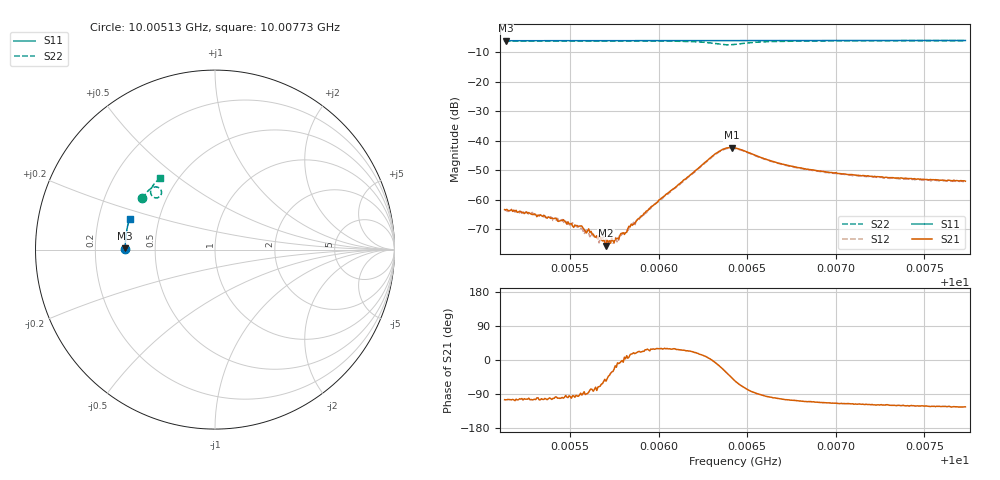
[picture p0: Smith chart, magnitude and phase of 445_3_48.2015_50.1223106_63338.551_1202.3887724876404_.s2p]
#  HZ  S  RI  R  50.00
! Rohde & Schwarz Vector Network Analyzer
! Rohde-Schwarz,ZNB20-2Port,1311601062101988,3.16
! Created: UTC 3/20/2024, 11:56:01 AM
! freq[Hz]  re:S11  im:S11  re:S21  im:S21  re:S12  im:S12  re:S22  im:S22
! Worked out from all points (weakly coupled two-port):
!   401 points, 10.00513 GHz to 10.00773 GHz, reference 50 ohm
!   highest |S21| = -42.28 dB at 10.00641 GHz (marker M1); lowest = -75.6 dB at 10.0057 GHz (marker M2)
!   lowest |S11| = -6.0 dB at 10.00514 GHz (marker M3), VSWR 3.00, Z = 16.7 + j0.273 ohm
!   |S11| at or under -10 dB: nowhere
!   |S22| runs from -7.4 to -6.0 dB; largest |S21 - S12| = 0.00045
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1.0005131e10  -0.5004 0.00579  -0.000174 -0.000659  -0.000121 -0.000649  -0.4046 0.285
1.0005137e10  -0.5002 0.00614  -0.000176 -0.000652  -0.000152 -0.000648  -0.4045 0.2854
1.0005346e10  -0.5003 0.0197  -0.000127 -0.000506  -7.65e-05 -0.000509  -0.3963 0.2978
1.0005411e10  -0.5002 0.024  -9.23e-05 -0.00047  -4.46e-05 -0.000454  -0.3936 0.3015
1.0005443e10  -0.5002 0.0261  -8.59e-05 -0.000432  -5.03e-05 -0.000463  -0.3922 0.3035
1.0005567e10  -0.5 0.0341  -1.6e-05 -0.000358  1.82e-05 -0.000324  -0.3867 0.3108
1.0005586e10  -0.4999 0.0354  -5.35e-06 -0.000291  1.75e-05 -0.000282  -0.3858 0.3121
1.0005612e10  -0.4999 0.037  5.02e-05 -0.000275  4.1e-05 -0.000232  -0.3845 0.3137
1.0005658e10  -0.4998 0.0402  6.85e-05 -0.000202  7.87e-05 -0.000224  -0.3822 0.3165
1.000569e10  -0.4995 0.0421  0.000116 -0.000174  0.000123 -0.000205  -0.3805 0.3185
1.0005703e10  -0.4996 0.043  9.29e-05 -0.000137  0.000155 -0.000152  -0.3799 0.3193
1.0005723e10  -0.4994 0.0442  0.000153 -0.000131  0.000135 -0.000126  -0.3786 0.3206
1.0005762e10  -0.4993 0.0468  0.000208 -7.18e-05  0.000205 -2.52e-05  -0.3766 0.323
1.0006002e10  -0.4981 0.0623  0.000861 0.000496  0.000804 0.000529  -0.3597 0.3387
1.0006314e10  -0.4953 0.0824  0.00581 -0.00045  0.00566 -0.000195  -0.3022 0.3339
1.0006366e10  -0.4947 0.0853  0.00653 -0.00314  0.00655 -0.00272  -0.2989 0.3095
1.0006412e10  -0.4943 0.0882  0.00527 -0.00561  0.00545 -0.00523  -0.3143 0.2912
1.0006431e10  -0.4942 0.0891  0.00432 -0.00621  0.00457 -0.00585  -0.3238 0.2882
1.0006665e10  -0.4924 0.1042  -0.000804 -0.00422  -0.000607 -0.0042  -0.358 0.3298
1.0006867e10  -0.4898 0.1171  -0.00114 -0.00301  -0.000955 -0.003  -0.3492 0.3513
1.0007302e10  -0.4836 0.1445  -0.00117 -0.00207  -0.00104 -0.00206  -0.327 0.3789
1.0007731e10  -0.4756 0.171  -0.00115 -0.00172  -0.00103 -0.00173  -0.3049 0.3998
